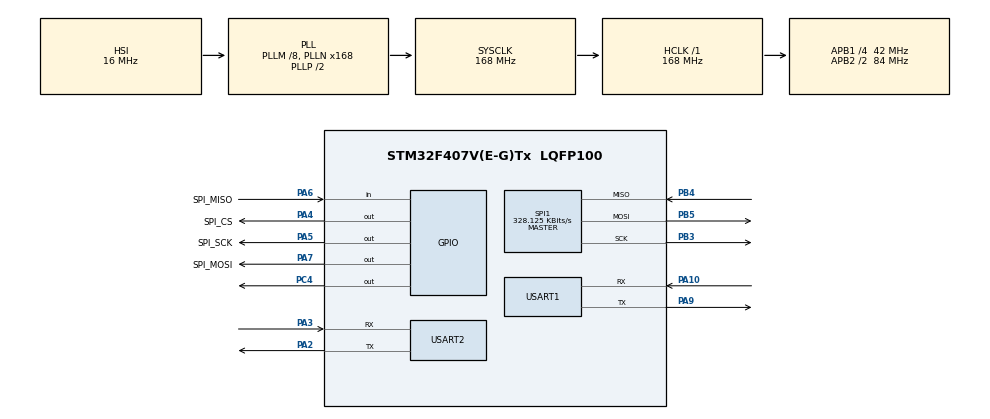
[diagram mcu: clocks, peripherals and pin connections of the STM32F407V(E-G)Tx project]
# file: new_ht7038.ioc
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Mcu.Family=STM32F4
Mcu.Name=STM32F407V(E-G)Tx
Mcu.Package=LQFP100
NVIC.PriorityGroup=NVIC_PRIORITYGROUP_4
PA10.Mode=Asynchronous
PA10.Signal=USART1_RX
PA2.Mode=Asynchronous
PA2.Signal=USART2_TX
PA3.Mode=Asynchronous
PA3.Signal=USART2_RX
PA4.GPIO_Label=SPI_CS
PA4.GPIO_PuPd=GPIO_PULLUP
PA4.GPIO_Speed=GPIO_SPEED_FREQ_MEDIUM
PA4.Signal=GPIO_Output
PA5.GPIO_Label=SPI_SCK
PA5.GPIO_Speed=GPIO_SPEED_FREQ_MEDIUM
PA5.Signal=GPIO_Output
PA6.GPIO_Label=SPI_MISO
PA6.GPIO_PuPd=GPIO_NOPULL
PA6.Signal=GPIO_Input
PA7.GPIO_Label=SPI_MOSI
PA7.GPIO_PuPd=GPIO_PULLUP
PA7.GPIO_Speed=GPIO_SPEED_FREQ_MEDIUM
PA7.Signal=GPIO_Output
PA9.Mode=Asynchronous
PA9.Signal=USART1_TX
PB3.Mode=Full_Duplex_Master
PB3.Signal=SPI1_SCK
PB4.Mode=Full_Duplex_Master
PB4.Signal=SPI1_MISO
PB5.Mode=Full_Duplex_Master
PB5.Signal=SPI1_MOSI
PC4.GPIO_PuPd=GPIO_PULLUP
PC4.GPIO_Speed=GPIO_SPEED_FREQ_MEDIUM
PC4.Signal=GPIO_Output
PH0-OSC_IN.Mode=HSE-External-Oscillator
PH0-OSC_IN.Signal=RCC_OSC_IN
PH1-OSC_OUT.Mode=HSE-External-Oscillator
PH1-OSC_OUT.Signal=RCC_OSC_OUT
ProjectManager.HeapSize=0x200
ProjectManager.StackSize=0x400
ProjectManager.TargetToolchain=MDK-ARM V5.27
RCC.48MHZClocksFreq_Value=84000000
RCC.AHBFreq_Value=168000000
RCC.APB1CLKDivider=RCC_HCLK_DIV4
RCC.APB1Freq_Value=42000000
RCC.APB1TimFreq_Value=84000000
RCC.APB2CLKDivider=RCC_HCLK_DIV2
RCC.APB2Freq_Value=84000000
RCC.APB2TimFreq_Value=168000000
RCC.CortexFreq_Value=168000000
RCC.HCLKFreq_Value=168000000
RCC.HSE_VALUE=25000000
RCC.HSI_VALUE=16000000
RCC.LSE_VALUE=32768
RCC.PLLM=8
RCC.PLLN=168
RCC.SYSCLKFreq_VALUE=168000000
RCC.SYSCLKSource=RCC_SYSCLKSOURCE_PLLCLK
RCC.VCOOutputFreq_Value=336000000
SPI1.BaudRatePrescaler=SPI_BAUDRATEPRESCALER_256
SPI1.CalculateBaudRate=328.125 KBits/s
SPI1.Direction=SPI_DIRECTION_2LINES
SPI1.Mode=SPI_MODE_MASTER
SPI1.VirtualType=VM_MASTER
USART1.VirtualMode=VM_ASYNC
USART2.VirtualMode=VM_ASYNC
board=custom

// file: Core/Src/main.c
/* USER CODE BEGIN Header */
/**
  ******************************************************************************
  * @file           : main.c
  * @brief          : Main program body
  ******************************************************************************
  * @attention
  *
  * <h2><center>&copy; Copyright (c) 2021 STMicroelectronics.
  * All rights reserved.</center></h2>
  *
  * This software component is licensed by ST under BSD 3-Clause license,
  * the "License"; You may not use this file except in compliance with the
  * License. You may obtain a copy of the License at:
  *                        opensource.org/licenses/BSD-3-Clause
  *
  ******************************************************************************
  */
/* USER CODE END Header */
#include "main.h"
#include "spi.h"
#include "usart.h"
#include "gpio.h"

/* USER CODE BEGIN PD */
#define		TEST_BUF_SIZE	50		//测试缓存大小
/* USER CODE END PD */

/* USER CODE BEGIN PV */
uint8_t 	ReceData[3]= {0};
uint16_t	count = 0;						//计数器
uint16_t	data  = 0;
//保存原始电流有效值
uint32_t origin_dat;
 uint32_t	A_Original_Buf[TEST_BUF_SIZE]={0};	//A相原始电流有效值
 uint32_t	B_Original_Buf[TEST_BUF_SIZE]={0};	//B相原始电流有效值
 uint32_t	C_Original_Buf[TEST_BUF_SIZE]={0};	//C相原始电流有效值

//保存转换后的电流有效值
 uint16_t convert_dat;
 uint16_t a_changed_buf[TEST_BUF_SIZE] = {0};	//A相转换后的电流值
 uint16_t b_changed_buf[TEST_BUF_SIZE] = {0};	//B相转换后的电流值
 uint16_t c_changed_buf[TEST_BUF_SIZE] = {0};	//C相转换后的电流值

uint8_t	APhaseReceBuf[3] = {0};
uint8_t	BPhaseReceBuf[3] = {0};
/* USER CODE END PV */

void SystemClock_Config(void);

/* USER CODE BEGIN 0 */
#include "stdio.h"
int fputc(int ch, FILE *f){
uint8_t temp[1] = {ch};
HAL_UART_Transmit(&huart1, temp, 1, 2);//huart1需要根据你的配置修改
return ch;
}
/* USER CODE END 0 */

int main(void)
{
  /* USER CODE BEGIN 1 */
  uint16_t		i = 0;
	float	temp = 0.0;
  /* USER CODE END 1 */

  /* MCU Configuration--------------------------------------------------------*/

  /* Reset of all peripherals, Initializes the Flash interface and the Systick. */
  HAL_Init();

  /* Configure the system clock */
  SystemClock_Config();

  /* Initialize all configured peripherals */
  MX_GPIO_Init();
  MX_USART1_UART_Init();
  MX_USART2_UART_Init();
  MX_SPI1_Init();
  /* USER CODE BEGIN 2 */
  HT7038ResetSet();
  SetHT7038Function();
  printf("\r\n\r\nht7038模块开始测试！\r\n\r\n");
  /* USER CODE END 2 */

  /* Infinite loop */
  /* USER CODE BEGIN WHILE */
  while (1)
  {

			//读取A相电流有效值
			ReadSpi(R_IARMS&0x7f, APhaseReceBuf); //读取电流有效值
			//读取B相电有效值//R_IBRMS
			//ReadSpi(R_UARMS&0x7f, BPhaseReceBuf);  //读取电压有效值
			ReadSpi(ACTIVE_Pa&0x7f, BPhaseReceBuf); //读取有功功率
			//A_Original_Buf[count] = (APhaseReceBuf[0]<<16) | (APhaseReceBuf[1]<<8) | (APhaseReceBuf[2]);
			//a_changed_buf[count] = (u16) (A_Rece_Buf[count]/8192/RES_VALUE*10);
			//temp = (A_Original_Buf[count]/8192/RES_VALUE*10);
			//a_changed_buf[count] = (uint16_t)temp;

			temp = 0.0;

			origin_dat = (BPhaseReceBuf[0]<<16) | (BPhaseReceBuf[1]<<8) | (BPhaseReceBuf[2]);
			//b_changed_buf[count] = (u16) (B_Rece_Buf[count]/8192/RES_VALUE*10);
			temp = (origin_dat/8192/RES_VALUE*10);
			convert_dat = (uint16_t)temp;

			//printf("A相原始的电流有效值为：\r\n");
//			for(i=0;i<count;i++)
//			{
//				printf(" %d  ",A_Original_Buf[0]);
//			}
//			printf("\r\n");
//			printf("A相转换后的电流有效值为：\r\n");
//			for(i=0;i<count;i++)
//			{
//				printf(" %d  ",a_changed_buf[i]);
//			}

			printf("\r\n");

			printf("B相原始的电压有效值为：\r\n");
			//for(i=0;i<count;i++)
			//{
				printf(" %x  ", origin_dat);
		//	}
			printf("\r\n");
			printf("B相转换后的电压有效值为：\r\n");
			//for(i=0;i<count;i++)
			//{
				printf(" %d  ", convert_dat);
			//}

			//count = 0;
			printf("\r\n******************************************************\r\n");
			printf("\r\n");

		HAL_Delay(10);	//20ms读取一次
    /* USER CODE END WHILE */

  }
}

void SystemClock_Config(void)
{
  RCC_OscInitTypeDef RCC_OscInitStruct = {0};
  RCC_ClkInitTypeDef RCC_ClkInitStruct = {0};

  /** Configure the main internal regulator output voltage
  */
  __HAL_RCC_PWR_CLK_ENABLE();
  __HAL_PWR_VOLTAGESCALING_CONFIG(PWR_REGULATOR_VOLTAGE_SCALE1);
  /** Initializes the RCC Oscillators according to the specified parameters
  * in the RCC_OscInitTypeDef structure.
  */
  RCC_OscInitStruct.OscillatorType = RCC_OSCILLATORTYPE_HSI;
  RCC_OscInitStruct.HSIState = RCC_HSI_ON;
  RCC_OscInitStruct.HSICalibrationValue = RCC_HSICALIBRATION_DEFAULT;
  RCC_OscInitStruct.PLL.PLLState = RCC_PLL_ON;
  RCC_OscInitStruct.PLL.PLLSource = RCC_PLLSOURCE_HSI;
  RCC_OscInitStruct.PLL.PLLM = 8;
  RCC_OscInitStruct.PLL.PLLN = 168;
  RCC_OscInitStruct.PLL.PLLP = RCC_PLLP_DIV2;
  RCC_OscInitStruct.PLL.PLLQ = 4;
  if (HAL_RCC_OscConfig(&RCC_OscInitStruct) != HAL_OK)
  {
    Error_Handler();
  }
  /** Initializes the CPU, AHB and APB buses clocks
  */
  RCC_ClkInitStruct.ClockType = RCC_CLOCKTYPE_HCLK|RCC_CLOCKTYPE_SYSCLK
                              |RCC_CLOCKTYPE_PCLK1|RCC_CLOCKTYPE_PCLK2;
  RCC_ClkInitStruct.SYSCLKSource = RCC_SYSCLKSOURCE_PLLCLK;
  RCC_ClkInitStruct.AHBCLKDivider = RCC_SYSCLK_DIV1;
  RCC_ClkInitStruct.APB1CLKDivider = RCC_HCLK_DIV4;
  RCC_ClkInitStruct.APB2CLKDivider = RCC_HCLK_DIV2;

  if (HAL_RCC_ClockConfig(&RCC_ClkInitStruct, FLASH_LATENCY_5) != HAL_OK)
  {
    Error_Handler();
  }
}

void Error_Handler(void)
{
}

/************************ (C) COPYRIGHT STMicroelectronics *****END OF FILE****/
